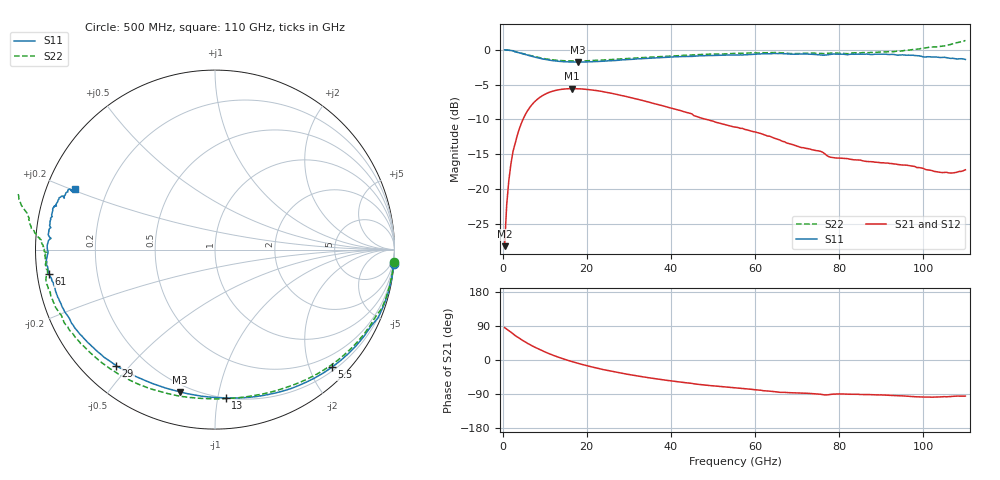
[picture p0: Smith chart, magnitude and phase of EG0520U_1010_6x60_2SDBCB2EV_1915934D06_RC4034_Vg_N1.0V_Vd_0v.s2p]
!File name = EG0520U_1010_6x60_2SDBCB2EV_1915934D06_RC4034_Vg_N1.0V_Vd_0v.s2p
!Base file name = EG0520U_1010_6x60_2SDBCB2EV_1915934D06_RC4034
!Date = 8/23/2019
!Time = 12:55 PM
!Test duration(min) = 0.15
!Test = S-Parameters
!MPTS version = 8.91.5
!State File = C:\Data\PNA\20190821205423\S-Parameters_2019-08-23.sta
!Cal File =
!ComputerName = CMPE-LAB-6
!Comments =
!Attenuation = 0
!Z0 = 50
!Input Power(dBm) = -13.00
!Device ID = EG0520U_1010_6x60_2SDBCB2EV
!Row = 40
!Column = 34
!Technology = QPHT09
!Lot/Wafer = 1915934D06
!Gate Size = 360
!Mask = EG0520
!Cal Standards = GaAs BCB
!Cal Kit = EG2306
!Job Number = 20190821205423
!Device Type = FET
!set_Vg(v) = -1.000
!set_Vd(v) = 0.000
!file_name = EG0520U_1010_6x60_2SDBCB2EV_1915934D06_RC4034_Vg_N1.0V_Vd_0v.s2p
!Vd(V) = 0.000
!Vd(mA) = 0.002
!Vg(V) = -1.000
!Vg(mA) = -0.000
# GHz  S  DB  R  50
!%	Freq(GHz)  s11(dB)  s11(deg)  s21(dB)  s21(deg)  s12(dB)  s12(deg)  s22(dB)  s22(deg)
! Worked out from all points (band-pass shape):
!   220 points, 500 MHz to 110 GHz, reference 50 ohm
!   highest |S21| = -5.57 dB at 16.5 GHz (marker M1); lowest = -28.2 dB at 500 MHz (marker M2)
!   |S21| within 3 dB of the highest: 6.158 GHz to 41.31 GHz (35.15 GHz wide, 148 % of centre)
!   lowest |S11| = -1.8 dB at 18 GHz (marker M3), VSWR 9.89, Z = 8.12 - j38.6 ohm
!   |S11| at or under -10 dB: nowhere
!   |S22| runs from -1.6 to 1.4 dB; largest |S21 - S12| = 0.0036
!   S11 on the Smith chart (normalised r, x): 500 MHz: 0, -25; 5.5 GHz: 0.26, -2.38; 13 GHz: 0.20, -1.06; 29 GHz: 0.10, -0.46; 61 GHz: 0.03, -0.07; 110 GHz: 0.08, +0.21
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0.5  -0.01 -4.6  -28.24 85.5  -28.24 85.6  -0.01 -4.0
1  -0.02 -9.2  -22.27 81.5  -22.27 81.5  -0.03 -7.9
1.5  -0.05 -13.7  -18.82 77.3  -18.82 77.3  -0.05 -11.8
2  -0.08 -18.2  -16.41 73.3  -16.41 73.2  -0.09 -15.7
3.5  -0.35 -30.1  -12.32 60.9  -12.33 60.8  -0.33 -25.9
5.5  -0.69 -45.2  -9.23 46.9  -9.24 46.9  -0.64 -39.0
8.5  -1.16 -64.0  -7.00 29.3  -7.01 29.3  -1.08 -55.5
13  -1.63 -85.9  -5.78 8.5  -5.79 8.4  -1.50 -75.4
16.5  -1.75 -98.9  -5.57 -4.3  -5.59 -4.3  -1.60 -87.9
18  -1.76 -103.7  -5.59 -9.0  -5.61 -9.1  -1.60 -92.7
19  -1.76 -106.7  -5.63 -12.0  -5.64 -12.1  -1.59 -95.7
29  -1.42 -130.5  -6.66 -36.2  -6.67 -36.3  -1.27 -120.8
37  -1.13 -143.9  -7.86 -50.4  -7.88 -50.6  -0.98 -135.8
46.5  -0.87 -157.2  -9.65 -64.2  -9.68 -64.4  -0.68 -150.4
55.5  -0.75 -166.9  -11.12 -73.4  -11.16 -73.7  -0.49 -160.4
61  -0.59 -171.7  -11.97 -79.5  -12.00 -79.7  -0.45 -165.8
73.5  -0.62 177.4  -14.36 -88.7  -14.37 -88.9  -0.46 -174.8
78  -0.64 175.3  -15.45 -90.6  -15.47 -90.6  -0.48 -177.1
92  -0.67 165.0  -16.34 -93.1  -16.35 -93.0  -0.25 176.9
99.5  -0.92 160.6  -16.99 -97.5  -17.00 -97.4  0.21 173.8
106.5  -1.23 157.6  -17.72 -96.5  -17.76 -96.6  0.78 167.8
110  -1.38 156.5  -17.25 -95.3  -17.24 -95.4  1.35 162.2
